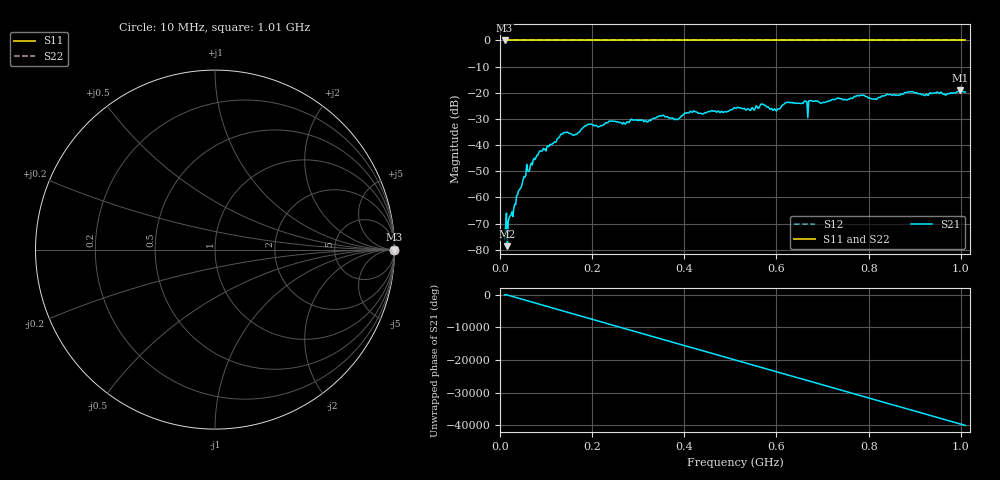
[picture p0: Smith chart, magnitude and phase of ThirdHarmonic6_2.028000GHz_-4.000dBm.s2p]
! 8/17/2025 12:20:01 AM
! C:\ANRITSUVNA\TEMP\TEMP.S2P
! CHANNEL.1
! TR.MEASUREMENT
! RAW.DATA
! RF.CORRECTION.OFF
! AVERAGING.OFF
! IF.BANDWIDTH: 5KHZ
! SWEEPTYPE:  FREQ.SWEEP(Linear)
! Reference Plane Port Info
! PORT:  PORT1  PORT2
! DISTANCE:  0  m  0  m
! TIME:  0  s  0  s
! PHASE.OFFSET:  0  deg.  0  deg.
! LOSS:  0  dB  0  dB
! REF.LOSS:  0  dB  0  dB
! REF.FREQ:  0  Hz  0  Hz
! Power Info
! POWER:  -20  dBm  -20  dBm
! EFF.POWER:  -20  dBm  -20  dBm
! SOURCE.ATTEN:  0  dB  0  dB
! TEST.ATTEN:  0  dB  0  dB
# GHZ S RI R 50.0
! FREQ.GHZ  S11RE  S11IM  S21RE  S21IM  S12RE  S12IM  S22RE  S22IM
!; PortSelection: Port_12
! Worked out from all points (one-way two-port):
!   501 points, 10 MHz to 1.01 GHz, reference 50 ohm
!   highest |S21| = -18.93 dB at 998 MHz (marker M1); lowest = -78.6 dB at 16 MHz (marker M2)
!   lowest |S11| = 0.0 dB at 10 MHz (marker M3)
!   |S11| at or under -10 dB: nowhere
!   |S22| runs from 0.0 to 0.0 dB; largest |S21 - S12| = 1.1
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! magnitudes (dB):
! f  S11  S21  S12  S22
! 10 MHz  0.0  -76.2  0.0  0.0
! 12 MHz  0.0  -71.9  0.0  0.0
! 16 MHz  0.0  -78.6  0.0  0.0
! 54 MHz  0.0  -52.2  0.0  0.0
! 84 MHz  0.0  -42.9  0.0  0.0
! 136 MHz  0.0  -35.7  0.0  0.0
! 162 MHz  0.0  -36.1  0.0  0.0
! 178 MHz  0.0  -33.7  0.0  0.0
! 344 MHz  0.0  -29.1  0.0  0.0
! 382 MHz  0.0  -30.0  0.0  0.0
! 416 MHz  0.0  -27.4  0.0  0.0
! 510 MHz  0.0  -25.8  0.0  0.0
! 548 MHz  0.0  -25.6  0.0  0.0
! 570 MHz  0.0  -24.4  0.0  0.0
! 596 MHz  0.0  -26.1  0.0  0.0
! 622 MHz  0.0  -23.7  0.0  0.0
! 678 MHz  0.0  -23.3  0.0  0.0
! 786 MHz  0.0  -21.0  0.0  0.0
! 814 MHz  0.0  -22.3  0.0  0.0
! 844 MHz  0.0  -20.7  0.0  0.0
! 998 MHz  0.0  -18.9  0.0  0.0
! 1.01 GHz  0.0  -19.7  0.0  0.0
